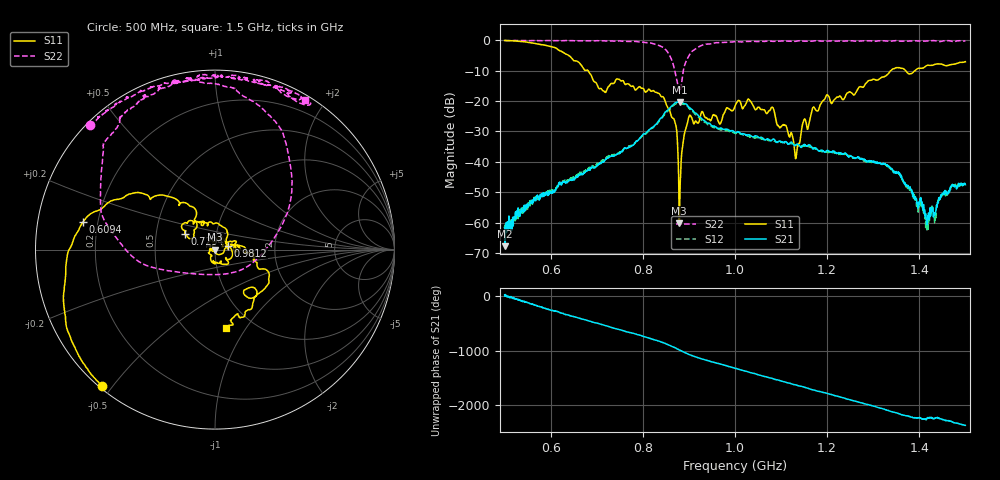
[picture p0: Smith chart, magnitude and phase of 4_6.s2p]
!Agilent Technologies,E8364B,US42250235,A.06.04.32
!Agilent E8364B: A.06.04.32
!Date: Friday, January 15, 2021 16:20:52
!Correction: S11(Full 2 Port(1,2)) S21(Full 2 Port(1,2)) S12(Full 2 Port(1,2)) S22(Full 2 Port(1,2))
!S2P File: Measurements: S11, S21, S12, S22:
# Hz S  dB  R 50
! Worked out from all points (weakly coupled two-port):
!   1601 points, 500 MHz to 1.5 GHz, reference 50 ohm
!   highest |S21| = -20.32 dB at 880 MHz (marker M1); lowest = -67.7 dB at 501.2 MHz (marker M2)
!   lowest |S11| = -60.3 dB at 878.8 MHz (marker M3), VSWR 1.00, Z = 50 - j0.0954 ohm
!   |S11| at or under -10 dB: 681.1 MHz to 1.338 GHz (657.2 MHz wide, 65.1 % of centre); 1.37 GHz to 1.391 GHz (20.82 MHz wide, 1.51 % of centre)
!   |S22| runs from -17.1 to -0.1 dB; largest |S21 - S12| = 0.0078
!   S11 on the Smith chart (normalised r, x): 500 MHz: 0.01, -0.47; 609.4 MHz: 0.14, +0.10; 729.4 MHz: 0.70, +0.13; 981.2 MHz: 1.16, +0.05; 1.5 GHz: 0.75, -0.81
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5e8  -0.12 -129.6  -61.54 11.9  -61.26 2.8  -0.16 135.2
5.0125e8  -0.13 -130.0  -67.71 26.6  -60.69 8.9  -0.16 135.1
6.09375e8  -2.48 168.3  -49.63 89.7  -49.18 86.4  -0.19 123.0
6.66875e8  -8.31 130.2  -44.00 -57.9  -43.46 -59.9  -0.21 115.0
7.29375e8  -14.54 152.7  -38.22 151.3  -37.63 145.0  -0.27 106.9
8.3375e8  -17.50 70.0  -26.61 -103.0  -27.03 -108.0  -1.68 70.7
8.69375e8  -26.78 -29.9  -20.73 134.8  -21.12 130.8  -10.10 6.6
8.7875e8  -60.25 -100.8  -20.40 95.1  -20.72 91.7  -16.65 -67.5
8.8e8  -53.97 -6.9  -20.32 90.1  -20.74 86.3  -17.09 -85.2
8.89375e8  -31.54 169.3  -20.84 52.3  -21.19 48.8  -8.96 -163.6
9.0125e8  -24.74 129.9  -22.23 8.2  -22.61 3.9  -4.74 170.6
9.2875e8  -23.48 64.1  -25.98 -73.3  -26.68 -76.7  -1.68 139.1
9.675e8  -27.55 23.6  -28.99 -162.5  -29.52 -166.1  -0.82 123.8
9.8125e8  -22.36 17.0  -29.32 164.5  -29.73 162.5  -0.71 118.5
1e9  -21.78 9.6  -30.34 117.9  -30.57 117.1  -0.49 114.5
1.08125e9  -22.08 -91.5  -32.70 -68.8  -33.06 -71.4  -0.41 102.9
1.133125e9  -38.04 158.4  -34.35 170.5  -34.46 167.6  -0.36 92.6
1.166875e9  -23.11 75.8  -35.33 86.8  -35.43 88.8  -0.35 89.6
1.33375e9  -10.82 -21.9  -41.67 58.6  -42.16 57.8  -0.38 74.9
1.4175e9  -8.25 -58.1  -58.84 -74.0  -62.75 -73.3  -0.30 64.6
1.450625e9  -7.99 -70.2  -50.40 -99.0  -50.60 -97.6  -0.32 60.3
1.5e9  -7.10 -82.1  -47.50 151.9  -47.17 148.6  -0.25 58.9
